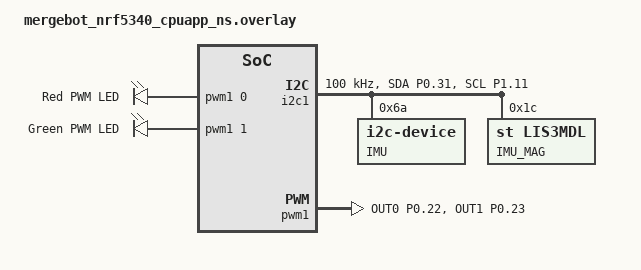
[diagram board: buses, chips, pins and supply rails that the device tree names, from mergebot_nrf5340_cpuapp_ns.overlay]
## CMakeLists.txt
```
cmake_minimum_required(VERSION 3.20.0)
find_package(Zephyr REQUIRED HINTS $ENV{ZEPHYR_BASE})

project(assignment_ses)

target_include_directories(app PRIVATE inc)
target_sources(app PRIVATE src/main.c src/robot.c src/robot/sensors/tap_detect.c 
    src/robot/sensors/lsm6dsox.c src/robot/power.c src/robot/sensors/lis3mdl.c 
    src/robot/calibration.c src/robot/settings.c src/robot/sensors/crash_detect.c src/robot/sensors/int1_gpio.c 
    src/robot/sensors/motion_verify.c src/robot/sensors/hall.c src/robot/sensors/sensor_base.c)
```

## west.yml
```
manifest:
    version: 1.2

    projects:
        # Nordic's nRF Connect SDK
        - name: nrf
          url: https://github.com/nrfconnect/sdk-nrf
          revision: v3.1.1
          import:
              file: west.yml
              path-prefix: deps
              name-allowlist:
                  - cmsis_6
                  - hal_nordic
                  - nrfxlib
                  - zephyr
                  - mbedtls
                  - oberon-psa-crypto
                  - trusted-firmware-m

          # CapBot's zephyr board definitions
        - name: capbot-zephyr-boards
          url: https://gitlab.kuleuven.be/distrinet/taskforces/nes/freebot/zephyr-boards
          revision: v3.0
          path: deps/capbot/boards
        # CapBot's zephyr library
        - name: capbot-zephyr-library
          url: https://gitlab.kuleuven.be/distrinet/taskforces/nes/freebot/zephyr-mergebot-library
          revision: v0.2
          path: deps/capbot/lib
```

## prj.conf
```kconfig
# Enable serial driver
CONFIG_SERIAL=y

# Enable console drivers
CONFIG_CONSOLE=y
CONFIG_UART_CONSOLE=y

# Enable logging
CONFIG_LOG=y

# Enable run-time assertions
CONFIG_ASSERT=y

# Enable I2C
CONFIG_I2C=y
CONFIG_CBPRINTF_FP_SUPPORT=y
CONFIG_CBPRINTF_FULL_INTEGRAL=y

CONFIG_FLASH=y
CONFIG_FLASH_MAP=y
CONFIG_NVS=y
CONFIG_SETTINGS=y
CONFIG_SETTINGS_NVS=y

# Enable PWM
CONFIG_PWM=y
CONFIG_LED=y
CONFIG_LED_PWM=y
```

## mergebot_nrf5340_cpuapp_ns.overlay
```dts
// To get started, press Ctrl+Space to bring up the completion menu and view the available nodes.

// You can also use the buttons in the sidebar to perform actions on nodes.
// Actions currently available include:

// * Enabling / disabling the node
// * Adding the bus to a bus
// * Removing the node
// * Connecting ADC channels

// For more help, browse the DeviceTree documentation at https://docs.zephyrproject.org/latest/guides/dts/index.html
// You can also visit the nRF DeviceTree extension documentation at https://docs.nordicsemi.com/bundle/nrf-connect-vscode/page/guides/ncs_configure_app.html#devicetree-support-in-the-extension


&i2c1 {
    status = "okay";
    pinctrl-0 = <&i2c1_default>;
    pinctrl-names = "default";
    
    lsm6dsox: lsm6dsox@6a {
        compatible = "i2c-device";
        reg = <0x6a>;
        label = "IMU";
    };

    lis3mdl: lis3mdl@1c {
        compatible = "st,lis3mdl";
        reg = <0x1c>;
        label = "IMU_MAG";
    };
    
    clock-frequency = <I2C_BITRATE_STANDARD>;
};

&pinctrl {
    i2c1_default: i2c1_default {
        group1 {
            psels = <NRF_PSEL(TWIM_SDA, 0, 31)>,
                    <NRF_PSEL(TWIM_SCL, 1, 11)>;
            bias-pull-up;
        };
    };

    // Enable PWM1 on the Red (22) and Green (23) pins
    pwm1_default: pwm1_default {
        group1 {
            psels = <NRF_PSEL(PWM_OUT0, 0, 22)>,
                    <NRF_PSEL(PWM_OUT1, 0, 23)>;
            low-power-enable;
        };
    };

    pwm1_sleep: pwm1_sleep {
        group1 {
            psels = <NRF_PSEL(PWM_OUT0, 0, 22)>,
                    <NRF_PSEL(PWM_OUT1, 0, 23)>;
            low-power-enable;
        };
    };
};

&pwm1 {
    status = "okay";
    pinctrl-0 = <&pwm1_default>;
    pinctrl-1 = <&pwm1_sleep>;
    pinctrl-names = "default", "sleep";
};

&gpio0 {
    status = "okay";
};

/ {
    aliases {
        int1-pin = &int1_gpio_node;
        lis3mdl = &lis3mdl;
        pwm-led-red = &pwm_led_red;
        pwm-led-grn = &pwm_led_grn;
    };
    
    int1_gpio_node: int1-gpio-node {
        compatible = "user-keys";
        imu_int1_pin {
            gpios = <&gpio0 12 (GPIO_ACTIVE_HIGH | GPIO_PULL_DOWN)>;
            label = "IMU INT1 Pin";
        };
    };

    /* * We define the parent node with the label 'pwm_leds_controller'.
     * The order of child nodes determines their index:
     * Index 0: Red
     * Index 1: Green
     */
    pwm_leds_controller: pwmleds {
        compatible = "pwm-leds";
        status = "okay";

        // Index 0
        pwm_led_red: red_pwm_led {
            pwms = <&pwm1 0 PWM_MSEC(20) PWM_POLARITY_NORMAL>;
            label = "Red PWM LED";
        };

        // Index 1
        pwm_led_grn: grn_pwm_led {
            pwms = <&pwm1 1 PWM_MSEC(20) PWM_POLARITY_NORMAL>;
            label = "Green PWM LED";
        };
    };
};
```

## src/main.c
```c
#include <math.h>
#include <stdbool.h>
#include <mergebot.h>
#include <zephyr/kernel.h>
#include <zephyr/logging/log.h>
#include <zephyr/drivers/led.h>


#include "mb_power.h"
#include "robot.h"
#include "robot/calibration.h"
#include "robot/power.h"
#include "robot/sensors/lis3mdl.h"
#include "robot/sensors/lsm6dsox.h"
#include "robot/sensors/tap_detect.h"
#include "robot/sensors/crash_detect.h"
#include "ses_assignment.h"

static const struct device *pwm_leds_dev = DEVICE_DT_GET(DT_NODELABEL(pwm_leds_controller));

#define LED_IDX_RED 0
#define LED_IDX_GRN 1

LOG_MODULE_REGISTER(main, LOG_LEVEL_INF);
static K_SEM_DEFINE(tap_sem, 0, 1);

int init_hardware(void) {
    LOG_INF("Initializing hardware...");
    TRY_ERR(mb_error_t, mb_measure_init(0));
    TRY_ERR(mb_error_t, mb_drive_init(4));
    TRY_ERR(mb_error_t, mb_power_init());
    TRY_ERR(mb_error_t, mb_led_init());

    if (!device_is_ready(pwm_leds_dev)) {
        LOG_ERR("PWM LED controller not ready. Check DeviceTree overlay.");
        return -ENODEV;
    }

    LOG_INF("Hardware ready");
    return 0;
}

static void drive_callback(int16_t left, int16_t right) { mb_drive(left, right); }

static void led_indicator_callback(int index) {
    for (int j = 0; j <= index; j++) {
        mb_led_toggle(MB_LED_G);
        k_sleep(K_MSEC(200));
        mb_led_toggle(MB_LED_G);
        k_sleep(K_MSEC(200));
    }
}

static void update_battery_led(void) {
    uint8_t percentage = power_percentage();
    //LOG_INF("Battery level = %u%%", percentage);

    led_set_brightness(pwm_leds_dev, LED_IDX_GRN, percentage);
    led_set_brightness(pwm_leds_dev, LED_IDX_RED, 100 - percentage);
}

static void test_turn(void) {
    robot_turn(45);
    k_sleep(K_MSEC(400));
    robot_turn(-45);
    k_sleep(K_MSEC(400));
    robot_turn(90);
    k_sleep(K_MSEC(400));
    robot_turn(-90);
    k_sleep(K_MSEC(400));
    robot_turn(135);
    k_sleep(K_MSEC(400));
    robot_turn(-135);
    k_sleep(K_MSEC(400));
    robot_turn(180);
    k_sleep(K_MSEC(400));
    robot_turn(-180);
}

static void test_move(void) {
    robot_move(100);
    k_sleep(K_MSEC(3000));
    robot_move(-100);
    k_sleep(K_MSEC(3000));
    robot_move(500);
    k_sleep(K_MSEC(3000));
    robot_move(-500);
    k_sleep(K_MSEC(3000));
    robot_move(1000);
    k_sleep(K_MSEC(3000));
    robot_move(-1000);
    k_sleep(K_MSEC(3000));
    robot_move(2000);
    k_sleep(K_MSEC(3000));
    robot_move(-2000);
    k_sleep(K_MSEC(3000));
}

static void test_mag(void) {
    double x_raw_d, y_raw_d;
    lis3mdl_data_t mag_data;
    TRY_ERR(int, lis3mdl_read_mag(&mag_data));

    int32_t x_raw = mag_data.x;
    int32_t y_raw = mag_data.y;

    x_raw_d = (double)x_raw;
    y_raw_d = (double)y_raw;

    double x = x_raw_d;
    double y = y_raw_d;

    double x1 = x_raw_d - (double)g_mag_offset_x;
    double y1 = y_raw_d - (double)g_mag_offset_y;

    double x2 = (x_raw_d - (double)g_mag_offset_x) * (double)g_mag_scale_x;
    double y2 = (y_raw_d - (double)g_mag_offset_y) * (double)g_mag_scale_y;

    LOG_INF("(raw x:%.3f y:%.3f), (off x1:%.3f y1:%.3f), (corr x2:%.3f y2:%.3f)",
            x, y, x1, y1, x2, y2);

    double heading  = atan2(x, y) * 180.0 / M_PI;
    double heading1 = atan2(x1, y1) * 180.0 / M_PI;
    double heading2 = atan2(x2, y2) * 180.0 / M_PI;

    if (heading < 0)  heading += 360.0;
    if (heading1 < 0) heading1 += 360.0;
    if (heading2 < 0) heading2 += 360.0;

    LOG_INF("(h:%.3f), (h1:%.3f), (h2:%.3f), (h3: %.3f)", heading, heading1, heading2, robot_calculate_heading());

    k_sleep(K_MSEC(500));
}

static void tap_callback(void) {
    k_sem_give(&tap_sem);
}

static void wait_for_double_tap(void) {
    robot_set_imu_mode(IMU_MODE_TAP);
    tap_detect_register_callback(tap_callback);
    LOG_INF("Waiting for double tap...");
    
    k_sem_reset(&tap_sem);

    while (k_sem_take(&tap_sem, K_MSEC(100)) != 0) {
        update_battery_led();
    }    

    led_set_brightness(pwm_leds_dev, LED_IDX_RED, 0);
    led_set_brightness(pwm_leds_dev, LED_IDX_GRN, 0);

    // This reconfigures the pins back to GPIO Output mode so 
    // robot_set_status() works correctly.
    mb_led_init();

    robot_set_imu_mode(IMU_MODE_OFF);
    LOG_INF("Double tap detected.");
}

static void follow_predefined_path(float scale) {
    robot_move(2000 * scale);
    robot_turn(90); // 90 degrees left
    robot_move(2000 * scale);
    robot_turn(-90);
    robot_move(2000 * scale);
    robot_turn(-90);
    robot_move(2000 * scale);
    robot_turn(180);
    robot_move(-2000 * scale);
    robot_turn(90);
    robot_move(4000 * scale);        
}

static void first_assign(void) {
    robot_turn_to_north();
    robot_move(1000);
}

static void third_assign(void) {
    robot_move(10000);
}

int main(void) {
    __ASSERT(init_hardware() == 0, "Failed to initialize robot");
    mb_out_bumper_off();
    mb_leds_off();
    robot_init();

    if (calibration_needed()) {
        LOG_INF("Calibration required bro, double tap to start.");
        wait_for_double_tap();

        calibration_sequence(TURNSPEED, drive_callback, led_indicator_callback);
    }

    for (;;) {
        update_battery_led();

        wait_for_double_tap();

        k_sleep(K_MSEC(200));

        /*robot_set_imu_mode(IMU_MODE_CRASH);
        robot_set_status(STATUS_OK);

        robot_turn_to_north();
        k_sleep(K_MSEC(200));
        robot_move(500);

        wait_for_double_tap();
        k_sleep(K_MSEC(200));
        robot_set_imu_mode(IMU_MODE_CRASH);
        robot_set_status(STATUS_OK);
        for (int i = 0; i < 6; i++) {
            robot_move(400);
            k_sleep(K_MSEC(600));
            robot_turn(60);
            k_sleep(K_MSEC(600));
        }

        wait_for_double_tap();
        k_sleep(K_MSEC(200));*/

        robot_set_imu_mode(IMU_MODE_CRASH);
        robot_set_status(STATUS_OK);
        int32_t dist = 1000000;
        robot_move_with_factor(dist, (dist * 0.995));
    }

    UNREACHABLE();
    return 0;
}
```

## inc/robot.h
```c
#ifndef ROBOT_H
#define ROBOT_H

#include "ses_assignment.h"
#include <zephyr/kernel.h>
#include <stdint.h>

typedef enum {
    IMU_MODE_OFF,
    IMU_MODE_TAP,
    IMU_MODE_CRASH,
    IMU_MODE_MOTION_VERIFY 
} robot_imu_mode_t;

typedef enum {
    STATUS_OK,
    STATUS_FAST,
    STATUS_SLOW,
    STATUS_CRASH,
} robot_status_t;

int robot_init(void);
void robot_set_imu_mode(robot_imu_mode_t new_mode);

void robot_move(int32_t distance_mm);
void robot_move_with_factor(int32_t distance_mm, int32_t ramp_factor);
void robot_turn(int32_t angle);
void robot_turn_to_north(void);
float robot_calculate_heading(void);

void robot_set_status(robot_status_t code);

#endif
```

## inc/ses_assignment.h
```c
#ifndef SES_ASSIGNMENT_H
#define SES_ASSIGNMENT_H

#include <math.h>
#include <stdbool.h>
#include <stdint.h>
#include <zephyr/kernel.h>
#include <zephyr/logging/log.h>

/* Constants */
#define CALIBRATION_RESET false
#define TAP_TIMEOUT_MS 100

#define TURNSPEED 60
#define MIN_SPEED 30

#define TICKS_PER_REV 705
#define WHEEL_DIAMETER_MM 42

#define SPEED_LEFT 50////100
#define SPEED_RIGHT 50//104

#define KP_ALIGN 1.5f
#define ALIGN_TOLERANCE 5.0f

#define SPEED (SPEED_LEFT + SPEED_RIGHT) / 2
#define TURN_TIMEOUT_MS 30000
#define ROBOT_HEADING_NORTH 0.0f

#define VCAP_MAX 3000
#define VCAP_MIN 600
#define THRESHOLD_HIGH 66
#define THRESHOLD_MED 33

/* Macros */
#ifndef M_PI
#define M_PI 3.14159265358979323846
#endif

#define TRY(test)                                                                                  \
    do {                                                                                           \
        if ((test)) {                                                                              \
            LOG_ERR("%s failed at %s:%d", #test, __FILE__, __LINE__);                              \
            return;                                                                                \
        }                                                                                          \
    } while (0)

#define TRY_ERR(err_t, test)                                                                       \
    do {                                                                                           \
        err_t err = (test);                                                                        \
        if (err){ \
            LOG_ERR("%s failed at %s:%d: %d", #test, __FILE__, __LINE__, err);                     \
            return err;                                                                            \
        }                                                                                 \
    } while (0)

#define CONFIGURE_REGS(write_func, ...)                                                            \
    struct {                                                                                       \
        uint8_t reg;                                                                               \
        uint8_t val;                                                                               \
    } config[] = {__VA_ARGS__};                                                                    \
    for (size_t i = 0; i < ARRAY_SIZE(config); i++) {                                              \
        TRY_ERR(int, write_func(config[i].reg, config[i].val));                                    \
    }

#define INIT_CHECK(func)                                                                           \
    do {                                                                                           \
        int _ret = (func);                                                                         \
        if (_ret != 0 && _ret != 0 /* MB_SUCCESS */) {                                             \
            LOG_ERR("%s failed: %d", #func, _ret);                                                 \
            return _ret;                                                                           \
        }                                                                                          \
    } while (0)

#define UNREACHABLE()                                                                              \
    do {                                                                                           \
        __ASSERT(false, "Unreachable code at %s:%d", __FILE__, __LINE__);                          \
    } while (0)

#define DEG_TO_RAD(deg) ((deg) * (M_PI / 180.0f))
#define RAD_TO_DEG(rad) ((rad) * (180.0 / M_PI))

#endif
```
